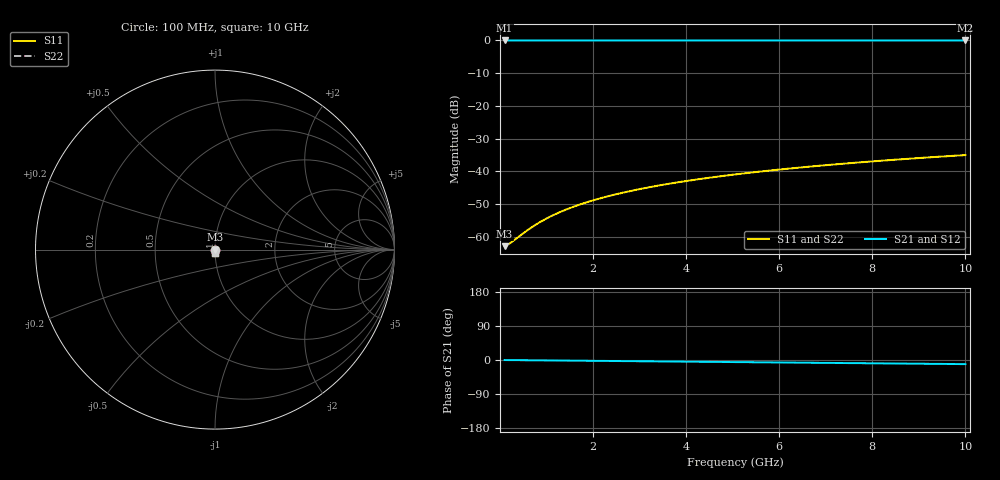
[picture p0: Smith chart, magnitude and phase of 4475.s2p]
# Hz S RI R 50.00
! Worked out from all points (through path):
!   100 points, 100 MHz to 10 GHz, reference 50 ohm
!   highest |S21| = -0.01 dB at 100 MHz (marker M1); lowest = 0.0 dB at 10 GHz (marker M2)
!   group delay of S21, straight-line fit = 3.03 ps
!   lowest |S11| = -62.9 dB at 100 MHz (marker M3), VSWR 1.00, Z = 50.1 - j0.0178 ohm
!   |S11| at or under -10 dB: start of sweep to end of sweep
!   |S22| runs from -62.9 to -35.0 dB; largest |S21 - S12| = 0
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1e8  0.000696 -0.000177  0.9993 -0.00189  0.9993 -0.00189  0.000696 -0.000177
2e8  0.000698 -0.000355  0.9993 -0.00379  0.9993 -0.00379  0.000698 -0.000355
3e8  0.000699 -0.000533  0.9993 -0.00568  0.9993 -0.00568  0.000699 -0.000533
6e8  0.000695 -0.00107  0.9992 -0.0114  0.9992 -0.0114  0.000695 -0.00107
7e8  0.000691 -0.00124  0.9992 -0.0133  0.9992 -0.0133  0.000691 -0.00124
8e8  0.000687 -0.00142  0.9992 -0.0151  0.9992 -0.0151  0.000687 -0.00142
1e9  0.000676 -0.00178  0.9991 -0.0189  0.9991 -0.0189  0.000676 -0.00178
1.2e9  0.000663 -0.00213  0.999 -0.0227  0.999 -0.0227  0.000663 -0.00213
1.4e9  0.000646 -0.00249  0.9989 -0.0265  0.9989 -0.0265  0.000646 -0.00249
1.6e9  0.000626 -0.00284  0.9988 -0.0303  0.9988 -0.0303  0.000626 -0.00284
1.8e9  0.000604 -0.0032  0.9987 -0.0341  0.9987 -0.0341  0.000604 -0.0032
2.1e9  0.000565 -0.00373  0.9984 -0.0398  0.9984 -0.0398  0.000565 -0.00373
2.5e9  0.000504 -0.00444  0.9981 -0.0473  0.9981 -0.0473  0.000504 -0.00444
2.9e9  0.000431 -0.00515  0.9977 -0.0549  0.9977 -0.0549  0.000431 -0.00515
3.4e9  0.000325 -0.00604  0.9971 -0.0644  0.9971 -0.0644  0.000325 -0.00604
4.2e9  0.00012 -0.00745  0.996 -0.0795  0.996 -0.0795  0.00012 -0.00745
5.1e9  -0.000162 -0.00904  0.9945 -0.0965  0.9945 -0.0965  -0.000162 -0.00904
5.9e9  -0.000459 -0.0104  0.9929 -0.1116  0.9929 -0.1116  -0.000459 -0.0104
6.7e9  -0.000799 -0.0118  0.991 -0.1267  0.991 -0.1267  -0.000799 -0.0118
7.5e9  -0.00118 -0.0132  0.9889 -0.1418  0.9889 -0.1418  -0.00118 -0.0132
8.4e9  -0.00166 -0.0148  0.9863 -0.1587  0.9863 -0.1587  -0.00166 -0.0148
1e10  -0.00265 -0.0175  0.9809 -0.1888  0.9809 -0.1888  -0.00265 -0.0175
